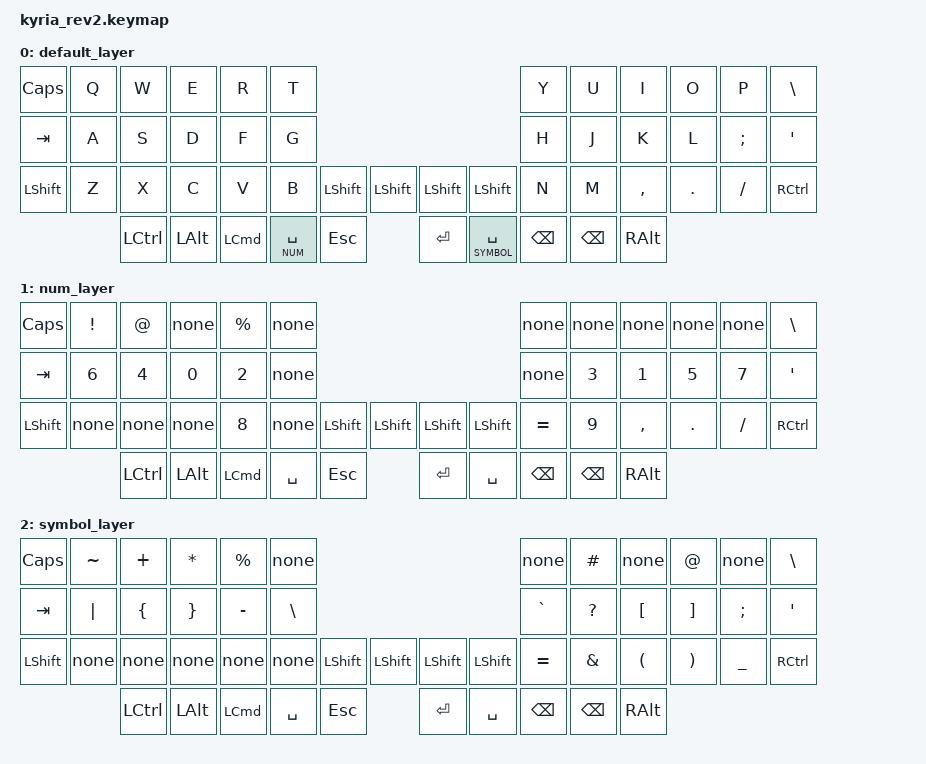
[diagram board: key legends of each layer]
/*
 * Copyright (c) 2020 The ZMK Contributors
 *
 * SPDX-License-Identifier: MIT
 */

#include <behaviors.dtsi>
#include <dt-bindings/zmk/keys.h>

#define DEFAULT 0
#define NUM     1
#define SYMBOL  2
#define NONE    0

/ {
	keymap {
		compatible = "zmk,keymap";

		default_layer {
// ---------------------------------------------------------------------------------------------------------------------------------
// |  CAPS |  Q  |  W  |  E   |  R   |  T   |                                          |  Y   |  U    |  I    |  O   |   P   |   \  |
// |  TAB  |  A  |  S  |  D   |  F   |  G   |                                          |  H   |  J    |  K    |  L   |   ;   |   '  |
// | SHIFT |  Z  |  X  |  C   |  V   |  B   | L SHIFT | L SHIFT |  | L SHIFT | L SHIFT |  N   |  M    |  ,    |  .   |   /   | CTRL |
//                     | L-CTRL  | L-ALT  | L-CMD  |  SPACE  |   ESC   |  |   RET   |  SPACE  | BSPC  | BSPC  | R-ALT |
			bindings = <
	&kp CAPS  &kp Q &kp W     &kp E    &kp R    &kp T                                            &kp Y &kp U  &kp I     &kp O   &kp P    &kp BSLH
	&kp TAB   &kp A &kp S     &kp D    &kp F    &kp G                                            &kp H &kp J  &kp K     &kp L   &kp SEMI &kp SQT
	&kp LSHFT &kp Z &kp X     &kp C    &kp V    &kp B &kp LSHFT &kp LSHFT    &kp LSHFT &kp LSHFT &kp N &kp M  &kp COMMA &kp DOT &kp FSLH &kp RCTRL
	                &kp LCTRL &kp LALT &kp LCMD &lt NUM SPACE &kp ESC &kp RET &lt SYMBOL SPACE &kp BSPC &kp BSPC &kp RALT
			>;
		};

		num_layer {
// ---------------------------------------------------------------------------------------------------------------------------------
// |  CAPS |  !  |  @  |      |  %   |      |                                          |      |       |       |      |       |   \  |
// |  TAB  |  6  |  4  |  0   |  2   |      |                                          |      |  3    |  1    |  5   |   7   |   '  |
// | SHIFT |     |     |      |  8   |      | L SHIFT | L SHIFT |  | L SHIFT | L SHIFT |   =  |  9    |  ,    |  .   |   /   | CTRL |
//                     | L-CTRL  | L-ALT  | L-CMD  |  SPACE  |   ESC   |  |   RET   |  SPACE  | BSPC  | BSPC  | R-ALT |
			bindings = <
	&kp CAPS  &kp EXCL &kp AT   &kp none &kp PRCNT &kp none                                            &kp none  &kp none  &kp none  &kp none &kp none &kp BSLH
	&kp TAB   &kp N6   &kp N4   &kp N0   &kp N2    &kp none                                            &kp none  &kp N3    &kp N1    &kp N5   &kp N7   &kp SQT
	&kp LSHFT &kp none &kp none &kp none &kp N8    &kp none &kp LSHFT &kp LSHFT    &kp LSHFT &kp LSHFT &kp EQUAL &kp N9    &kp COMMA &kp DOT  &kp FSLH &kp RCTRL
	                   &kp LCTRL &kp LALT &kp LCMD &kp SPACE &kp ESC &kp RET  &kp SPACE  &kp BSPC &kp BSPC &kp RALT
			>;
		};

		symbol_layer {
// ---------------------------------------------------------------------------------------------------------------------------------
// |  CAPS |  ~  |  +  |  *   |  %   |      |                                          |      |  #    |       |  @   |       |   \  |
// |  TAB  |  |  |  {  |  }   |  -   |  /   |                                          |  `   |  ?    |  [    |  ]   |   ;   |   `  |
// | SHIFT |     |     |      |      |      | L SHIFT | L SHIFT |  | L SHIFT | L SHIFT |  =   |  &    |  (    |  )   |   _   | CTRL |
//                     | L-CTRL  | L-ALT  | L-CMD  |  SPACE  |   ESC   |  |   RET   |  SPACE  | BSPC  | BSPC  | R-ALT |
			bindings = <
	&kp CAPS  &kp TILDE &kp PLUS &kp STAR &kp PRCNT &kp none                                            &kp none  &kp HASH  &kp none &kp AT   &kp none  &kp BSLH
	&kp TAB   &kp PIPE  &kp LBRC &kp RBRC &kp MINUS &kp BSLH                                            &kp GRAVE &kp QMARK &kp LBKT &kp RBKT &kp SEMI  &kp SQT
	&kp LSHFT &kp none  &kp none &kp none &kp none  &kp none &kp LSHFT &kp LSHFT    &kp LSHFT &kp LSHFT &kp EQUAL &kp AMPS  &kp LPAR &kp RPAR &kp UNDER &kp RCTRL
	                 &kp LCTRL &kp LALT &kp LCMD &kp SPACE &kp ESC &kp RET  &kp SPACE  &kp BSPC &kp BSPC &kp RALT
			>;
		};


	};
};
